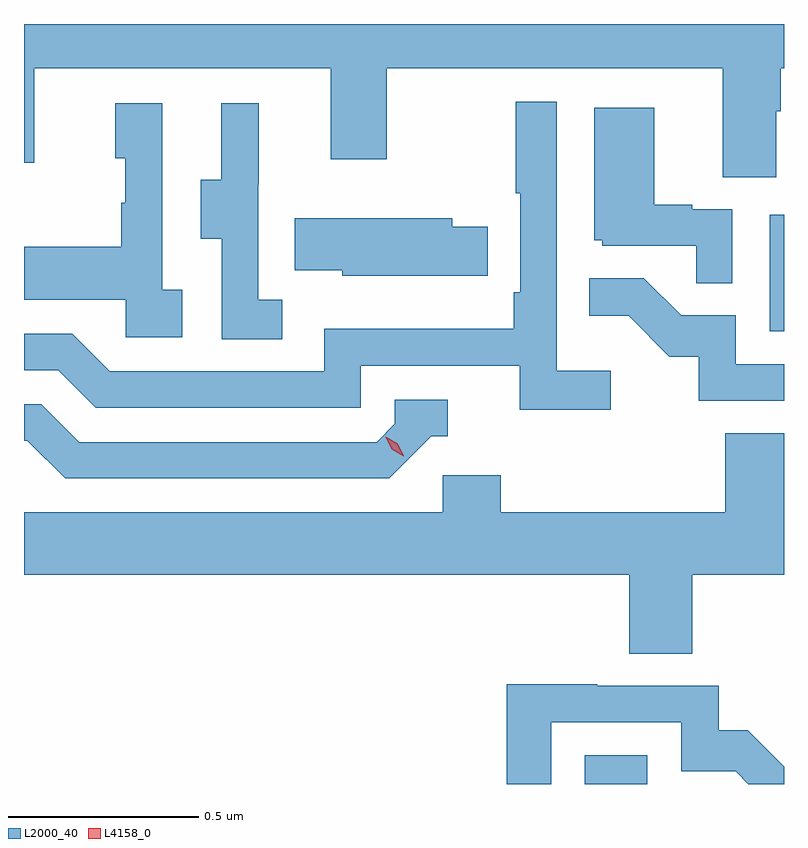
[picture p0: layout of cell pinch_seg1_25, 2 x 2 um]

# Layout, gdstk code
import gdstk
lib = gdstk.Library(unit=1e-6, precision=1e-09)
def R(c, l, rs):  # rectangles x0, y0, x1, y1
    for r in rs: c.add(gdstk.rectangle(r[:2], r[2:], *l))
def P(c, l, *ps):  # polygons
    for p in ps: c.add(gdstk.Polygon(p, *l))
L2000_40 = (2000, 40)
L4158_0 = (4158, 0)

pinch_seg1_25 = lib.new_cell('pinch_seg1_25')
R(pinch_seg1_25, L2000_40, [(1119.92,575.157,1120.084,575.233), (1120.406,576.348,1120.444,576.655)])
P(pinch_seg1_25, L2000_40, [(1120.423,576.928),(1120.436,576.928),(1120.436,577.04),(1120.444,577.04),(1120.444,577.157),(1118.444,577.157),(1118.444,576.792),(1118.471,576.792),(1118.471,577.04),(1119.251,577.04),(1119.251,576.801),(1119.399,576.801),(1119.399,577.04),(1120.283,577.04),(1120.283,576.754),(1120.423,576.754)],
  [(1119.988,576.244),(1119.846,576.244),(1119.846,576.952),(1119.738,576.952),(1119.738,576.712),(1119.75,576.712),(1119.75,576.451),(1119.733,576.451),(1119.733,576.355),(1119.234,576.355),(1119.234,576.243),(1118.67,576.243),(1118.571,576.342),(1118.444,576.342),(1118.444,576.246),(1118.534,576.246),(1118.633,576.147),(1119.33,576.147),(1119.33,576.258),(1119.749,576.258),(1119.749,576.142),(1119.988,576.142)],
  [(1118.86,576.458),(1118.808,576.458),(1118.808,576.949),(1118.684,576.949),(1118.684,576.804),(1118.71,576.804),(1118.71,576.686),(1118.7,576.686),(1118.7,576.571),(1118.444,576.571),(1118.444,576.431),(1118.712,576.431),(1118.712,576.333),(1118.86,576.333)],
  [(1119.124,576.431),(1119.06,576.431),(1119.06,576.735),(1119.062,576.735),(1119.062,576.949),(1118.963,576.949),(1118.963,576.747),(1118.909,576.747),(1118.909,576.592),(1118.964,576.592),(1118.964,576.328),(1119.124,576.328)],
  [(1120.308,576.669),(1120.202,576.669),(1120.202,576.682),(1120.102,576.682),(1120.102,576.937),(1119.944,576.937),(1119.944,576.588),(1119.966,576.588),(1119.966,576.573),(1120.213,576.573),(1120.213,576.475),(1120.308,576.475)],
  [(1119.554,576.495),(1119.665,576.495),(1119.665,576.624),(1119.571,576.624),(1119.571,576.646),(1119.157,576.646),(1119.157,576.509),(1119.282,576.509),(1119.282,576.494),(1119.554,576.494)],
  [(1120.444,576.261),(1120.317,576.261),(1120.317,576.39),(1120.173,576.39),(1120.075,576.488),(1119.931,576.488),(1119.931,576.389),(1120.035,576.389),(1120.142,576.282),(1120.219,576.282),(1120.219,576.165),(1120.444,576.165)],
  [(1119.516,576.072),(1119.559,576.072),(1119.559,576.168),(1119.42,576.168),(1119.42,576.105),(1119.372,576.057),(1118.589,576.057),(1118.49,576.156),(1118.444,576.156),(1118.444,576.06),(1118.453,576.06),(1118.552,575.961),(1119.405,575.961)],
  [(1119.546,575.97),(1119.546,575.872),(1118.444,575.872),(1118.444,575.708),(1120.037,575.708),(1120.037,575.5),(1120.202,575.5),(1120.202,575.708),(1120.444,575.708),(1120.444,576.08),(1120.289,576.08),(1120.289,575.872),(1119.698,575.872),(1119.698,575.97)],
  [(1119.831,575.319),(1120.173,575.319),(1120.173,575.19),(1120.317,575.19),(1120.35,575.157),(1120.444,575.157),(1120.444,575.202),(1120.348,575.298),(1120.272,575.298),(1120.272,575.415),(1119.953,575.415),(1119.953,575.42),(1119.715,575.42),(1119.715,575.157),(1119.831,575.157)])
P(pinch_seg1_25, L4158_0, [(1119.443,576.019),(1119.412,576.038),(1119.396,576.071),(1119.396,576.071),(1119.396,576.071),(1119.427,576.052),(1119.443,576.019),(1119.443,576.019)])

lib.write_gds('pinch_seg1_25.gds')
